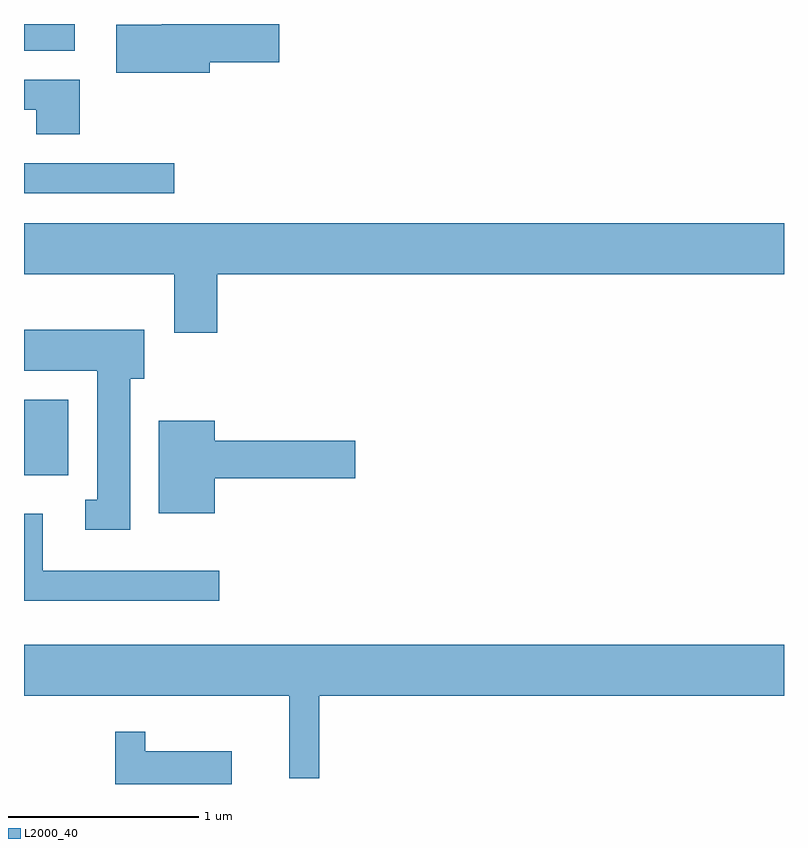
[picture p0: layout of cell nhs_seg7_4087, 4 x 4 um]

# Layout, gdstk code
import gdstk
lib = gdstk.Library(unit=1e-6, precision=1e-09)
def R(c, l, rs):  # rectangles x0, y0, x1, y1
    for r in rs: c.add(gdstk.rectangle(r[:2], r[2:], *l))
def P(c, l, *ps):  # polygons
    for p in ps: c.add(gdstk.Polygon(p, *l))
L2000_40 = (2000, 40)

nhs_seg7_4087 = lib.new_cell('nhs_seg7_4087')
R(nhs_seg7_4087, L2000_40, [(309.611,1759.876,309.844,1760.274), (309.611,1761.361,310.403,1761.519), (309.611,1762.111,309.879,1762.252)])
P(nhs_seg7_4087, L2000_40, [(310.589,1762.051),(310.954,1762.051),(310.954,1762.252),(310.336,1762.252),(310.336,1762.249),(310.096,1762.249),(310.096,1761.996),(310.589,1761.996)],
  [(309.904,1761.959),(309.611,1761.959),(309.611,1761.801),(309.676,1761.801),(309.676,1761.671),(309.904,1761.671)],
  [(310.629,1760.936),(313.611,1760.936),(313.611,1761.204),(309.611,1761.204),(309.611,1760.936),(310.401,1760.936),(310.401,1760.626),(310.629,1760.626)],
  [(310.169,1760.386),(310.244,1760.386),(310.244,1760.644),(309.611,1760.644),(309.611,1760.426),(309.996,1760.426),(309.996,1759.749),(309.933,1759.749),(309.933,1759.591),(310.169,1759.591)],
  [(310.614,1759.861),(311.354,1759.861),(311.354,1760.059),(310.614,1760.059),(310.614,1760.164),(310.321,1760.164),(310.321,1759.676),(310.614,1759.676)],
  [(310.638,1759.374),(309.709,1759.374),(309.709,1759.674),(309.611,1759.674),(309.611,1759.216),(310.638,1759.216)],
  [(311.164,1758.716),(313.611,1758.716),(313.611,1758.984),(309.611,1758.984),(309.611,1758.716),(311.006,1758.716),(311.006,1758.283),(311.164,1758.283)],
  [(310.704,1758.424),(310.249,1758.424),(310.249,1758.528),(310.091,1758.528),(310.091,1758.252),(310.704,1758.252)])

lib.write_gds('nhs_seg7_4087.gds')
